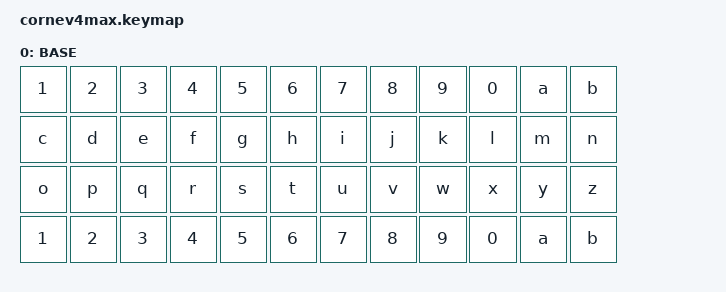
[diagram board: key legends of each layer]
#include <behaviors.dtsi>
#include <dt-bindings/zmk/keys.h>

/ {
  keymap {
    compatible = "zmk,keymap";

    base_layer {
      label = "BASE";
      bindings = <
        &kp 1  &kp 2  &kp 3  &kp 4  &kp 5  &kp 6       &kp 7  &kp 8  &kp 9  &kp 0  &kp a  &kp b
        &kp c  &kp d  &kp e  &kp f  &kp g  &kp h       &kp i  &kp j  &kp k  &kp l  &kp m  &kp n
        &kp o  &kp p  &kp q  &kp r  &kp s  &kp t       &kp u  &kp v  &kp w  &kp x  &kp y  &kp z
        &kp 1  &kp 2  &kp 3  &kp 4  &kp 5  &kp 6       &kp 7  &kp 8  &kp 9  &kp 0  &kp a  &kp b
      >;
    };
  };

  conditional_layers {
    compatible = "zmk,conditional-layers";

    Activate_EXT {
      if-layers = <1 2>;
      then-layer = <3>;
    };
  };
};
